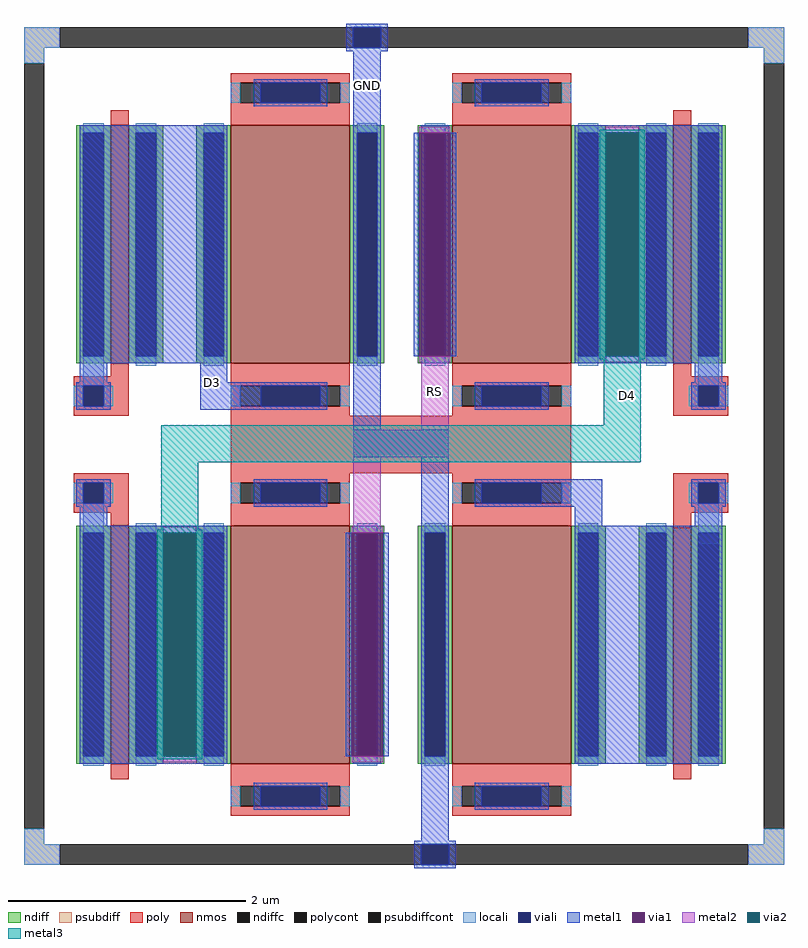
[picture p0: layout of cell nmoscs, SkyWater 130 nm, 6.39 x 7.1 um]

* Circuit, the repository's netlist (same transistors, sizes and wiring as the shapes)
** sch_path: /home/bagatraya/icpolytron/opamp/mag/nmoscs.sch
.subckt nmoscs RS GND D3 D4
*.PININFO RS:B GND:B D3:B D4:B
XM3 D3 D3 GND GND sky130_fd_pr__nfet_01v8 L=1u W=2u nf=1 m=2
XM4 D4 D3 RS GND sky130_fd_pr__nfet_01v8 L=1u W=2u nf=1 m=2
XM1 D3 D3 D3 GND sky130_fd_pr__nfet_01v8 L=0.15u W=2u nf=1 m=2
XM2 D4 D4 D4 GND sky130_fd_pr__nfet_01v8 L=0.15u W=2u nf=1 m=2
.ends
.end

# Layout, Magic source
magic
tech sky130A
magscale 1 2
<< psubdiff >>
rect -290 565 -230 599
rect 928 565 988 599
rect -290 539 -256 565
rect 954 539 988 565
rect -290 -775 -256 -749
rect 954 -775 988 -749
rect -290 -809 -230 -775
rect 928 -809 988 -775
<< psubdiffcont >>
rect -230 565 928 599
rect -290 -749 -256 539
rect 954 -749 988 539
rect -230 -809 928 -775
<< poly >>
rect -144 12 -114 34
rect -206 -4 -114 12
rect -206 -38 -190 -4
rect -156 -38 -114 -4
rect -206 -54 -114 -38
rect 802 12 832 34
rect 802 -4 894 12
rect 802 -38 844 -4
rect 878 -38 894 -4
rect 802 -54 894 -38
rect 58 -151 630 -54
rect -206 -167 -114 -151
rect -206 -201 -190 -167
rect -156 -201 -114 -167
rect -206 -217 -114 -201
rect -144 -239 -114 -217
rect 802 -167 894 -151
rect 802 -201 844 -167
rect 878 -201 894 -167
rect 802 -217 894 -201
rect 802 -243 832 -217
<< polycont >>
rect -190 -38 -156 -4
rect 844 -38 878 -4
rect -190 -201 -156 -167
rect 844 -201 878 -167
<< locali >>
rect -290 565 -230 599
rect 928 565 988 599
rect -290 539 -256 565
rect 954 539 988 565
rect -190 -4 -156 34
rect 844 -4 878 34
rect -206 -38 -190 -4
rect -156 -38 -140 -4
rect 828 -38 844 -4
rect 878 -38 894 -4
rect -206 -201 -190 -167
rect -156 -201 -140 -167
rect 828 -201 844 -167
rect 878 -201 894 -167
rect -190 -239 -156 -201
rect 844 -269 878 -201
rect -290 -775 -256 -749
rect 954 -775 988 -749
rect -290 -809 -230 -775
rect 928 -809 988 -775
<< viali >>
rect 264 565 310 599
rect -190 -38 -156 -4
rect 844 -38 878 -4
rect -190 -201 -156 -167
rect 844 -201 878 -167
rect 378 -809 424 -775
<< metal1 >>
rect 252 599 322 605
rect 252 565 264 599
rect 310 565 322 599
rect 252 559 322 565
rect 264 434 310 559
rect -196 34 52 434
rect 636 422 884 434
rect 365 46 375 422
rect 427 46 437 422
rect 636 46 688 422
rect 744 46 884 422
rect 636 34 884 46
rect -196 2 -150 34
rect 6 2 52 34
rect -202 -4 -144 2
rect -202 -38 -190 -4
rect -156 -38 -144 -4
rect -202 -44 -144 -38
rect 6 -44 109 2
rect 264 -78 310 34
rect 838 2 884 34
rect 832 -4 890 2
rect 832 -38 844 -4
rect 878 -38 890 -4
rect 832 -44 890 -38
rect 264 -124 424 -78
rect -202 -167 -144 -161
rect -202 -201 -190 -167
rect -156 -201 -144 -167
rect -202 -207 -144 -201
rect -196 -239 -150 -207
rect 378 -239 424 -124
rect 592 -207 682 -161
rect 832 -167 890 -161
rect 832 -201 844 -167
rect 878 -201 890 -167
rect 832 -207 890 -201
rect 636 -239 682 -207
rect 838 -239 884 -207
rect -196 -251 52 -239
rect -196 -627 -56 -251
rect 0 -627 52 -251
rect 251 -627 261 -251
rect 313 -627 323 -251
rect -196 -639 52 -627
rect 636 -639 884 -239
rect 378 -769 424 -639
rect 366 -775 436 -769
rect 366 -809 378 -775
rect 424 -809 436 -775
rect 366 -815 436 -809
<< via1 >>
rect 375 46 427 422
rect 688 46 744 422
rect -56 -627 0 -251
rect 261 -627 313 -251
<< metal2 >>
rect 375 422 427 432
rect 375 36 427 46
rect 688 422 744 432
rect 688 36 744 46
rect 378 -78 424 36
rect 264 -124 424 -78
rect 264 -241 310 -124
rect -56 -251 0 -241
rect -56 -637 0 -627
rect 261 -251 313 -241
rect 261 -637 313 -627
<< via2 >>
rect 688 46 744 422
rect -56 -627 0 -251
<< metal3 >>
rect 678 422 754 427
rect 678 46 688 422
rect 744 46 754 422
rect 678 41 754 46
rect 685 -70 747 41
rect -59 -132 747 -70
rect -59 -246 3 -132
rect -66 -251 10 -246
rect -66 -627 -56 -251
rect 0 -627 10 -251
rect -66 -632 10 -627
use sky130_fd_pr__nfet_01v8_6C7GCL  sky130_fd_pr__nfet_01v8_6C7GCL_0
transform 1 0 -129 0 1 234
box -73 -226 73 226
use sky130_fd_pr__nfet_01v8_6C7GCL  sky130_fd_pr__nfet_01v8_6C7GCL_1
transform 1 0 817 0 1 234
box -73 -226 73 226
use sky130_fd_pr__nfet_01v8_6C7GCL  sky130_fd_pr__nfet_01v8_6C7GCL_2
transform 1 0 -129 0 1 -439
box -73 -226 73 226
use sky130_fd_pr__nfet_01v8_6C7GCL  sky130_fd_pr__nfet_01v8_6C7GCL_3
transform 1 0 817 0 1 -439
box -73 -226 73 226
use sky130_fd_pr__nfet_01v8_8UM39F  sky130_fd_pr__nfet_01v8_8UM39F_0
transform 1 0 344 0 1 234
box -344 -288 344 288
use sky130_fd_pr__nfet_01v8_8UM39F  sky130_fd_pr__nfet_01v8_8UM39F_1
transform 1 0 344 0 1 -439
box -344 -288 344 288
<< labels >>
flabel metal3 725 -20 725 -20 0 FreeSans 800 0 0 0 D4
port 0 nsew
flabel metal1 27 1 27 1 0 FreeSans 800 0 0 0 D3
port 1 nsew
flabel metal2 401 -14 401 -14 0 FreeSans 800 0 0 0 RS
port 2 nsew
flabel metal1 288 501 288 501 0 FreeSans 800 0 0 0 GND
port 3 nsew
<< end >>

# cell sky130_fd_pr__nfet_01v8_6C7GCL: kit device sky130_fd_pr__nfet_01v8, w 2 l 0.150 m 1 nf 1 diffcov 100 polycov 100 guard 0 glc 1 grc 1 gtc 1 gbc 1 tbcov 100 rlcov 100 topc 0 botc 0 poverlap 0 doverlap 0 lmin 0.15 wmin 0.42 compatible {sky130_fd_pr__nfet_01v8 sky130_fd_pr__nfet_01v8_lvt sky130_fd_bs_flash__special_sonosfet_star sky130_fd_pr__nfet_g5v0d10v5 sky130_fd_pr__nfet_05v0_nvt sky130_fd_pr__nfet_03v3_nvt} full_metal 0 viasrc 100 viadrn 100 viagate 100 viagb 0 viagr 0 viagl 0 viagt 0

# cell sky130_fd_pr__nfet_01v8_8UM39F: kit device sky130_fd_pr__nfet_01v8, w 2 l 1 m 1 nf 2 diffcov 100 polycov 100 guard 0 glc 1 grc 1 gtc 1 gbc 1 tbcov 100 rlcov 100 topc 1 botc 1 poverlap 0 doverlap 0 lmin 0.15 wmin 0.42 compatible {sky130_fd_pr__nfet_01v8 sky130_fd_pr__nfet_01v8_lvt sky130_fd_bs_flash__special_sonosfet_star sky130_fd_pr__nfet_g5v0d10v5 sky130_fd_pr__nfet_05v0_nvt sky130_fd_pr__nfet_03v3_nvt} full_metal 0 viasrc 100 viadrn 100 viagate 60 viagb 0 viagr 0 viagl 0 viagt 0
